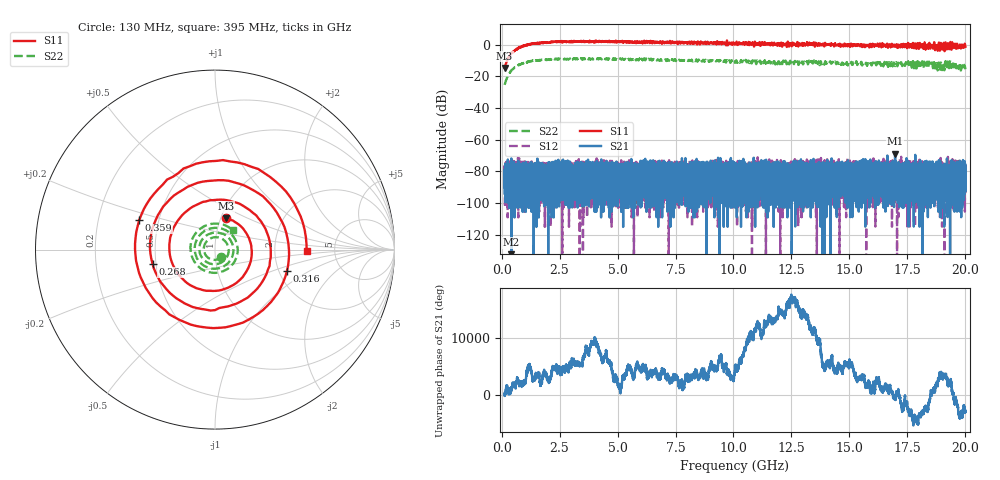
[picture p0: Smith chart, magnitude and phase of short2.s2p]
!Created with skrf (http://scikit-rf.org).
# GHz S RI R 50.0
!freq ReS11 ImS11 ReS21 ImS21 ReS12 ImS12 ReS22 ImS22
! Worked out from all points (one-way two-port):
!   20013 points, 130 MHz to 20 GHz, reference 50 ohm
!   highest |S21| = -68.80 dB at 16.97 GHz (marker M1); lowest = -178.6 dB at 424 MHz (marker M2)
!   lowest |S11| = -14.7 dB at 130 MHz (marker M3), VSWR 1.45, Z = 52.8 + j19.1 ohm
!   |S11| at or under -10 dB: start of sweep to 232.8 MHz; 233.5542 MHz to 234.4001 MHz (845.9 kHz wide, 0.362 % of centre)
!   |S22| runs from -25.3 to -8.4 dB; largest |S21 - S12| = 0.0004
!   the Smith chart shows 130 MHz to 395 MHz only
!   S11 on the Smith chart (normalised r, x): 130 MHz: 1.06, +0.38; 268 MHz: 0.48, -0.09; 316 MHz: 2.20, -0.65; 359 MHz: 0.39, +0.16; 395 MHz: 3.08, -0.07
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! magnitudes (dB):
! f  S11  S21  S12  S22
! 130 MHz  -14.7  -94.1  -76.4  -25.3
! 268 MHz  -8.9  -88.9  -88.8  -19.7
! 316 MHz  -7.6  -82.0  -89.6  -18.3
! 359 MHz  -6.9  -87.1  -81.3  -17.6
! 395 MHz  -5.8  -82.0  -79.8  -16.6
! 424 MHz  -5.4  -178.6  -78.6  -16.3
! 803 MHz  -1.3  -90.8  -74.9  -12.3
! 1.343 GHz  1.0  -90.1  -78.3  -10.0
! 3.442 GHz  2.0  -78.3  -83.9  -8.5
! 6.754 GHz  1.4  -77.0  -79.6  -9.5
! 10.06 GHz  0.3  -81.6  -80.7  -11.3
! 12.9 GHz  0.2  -82.7  -78.8  -12.3
! 13.38 GHz  0.9  -82.8  -81.4  -10.5
! 16.69 GHz  -0.2  -84.7  -83.0  -12.1
! 16.97 GHz  -1.3  -68.8  -83.1  -13.4
! 18.5 GHz  -1.9  -85.7  -81.3  -13.6
! 18.81 GHz  -3.8  -85.5  -84.1  -15.7
! 19.4 GHz  -2.9  -80.6  -78.0  -14.4
! 19.45 GHz  0.7  -88.0  -76.0  -10.4
! 19.6 GHz  -2.5  -76.4  -85.9  -14.8
! 19.76 GHz  -0.2  -76.3  -88.0  -12.9
! 20 GHz  -1.2  -81.6  -82.4  -15.5
